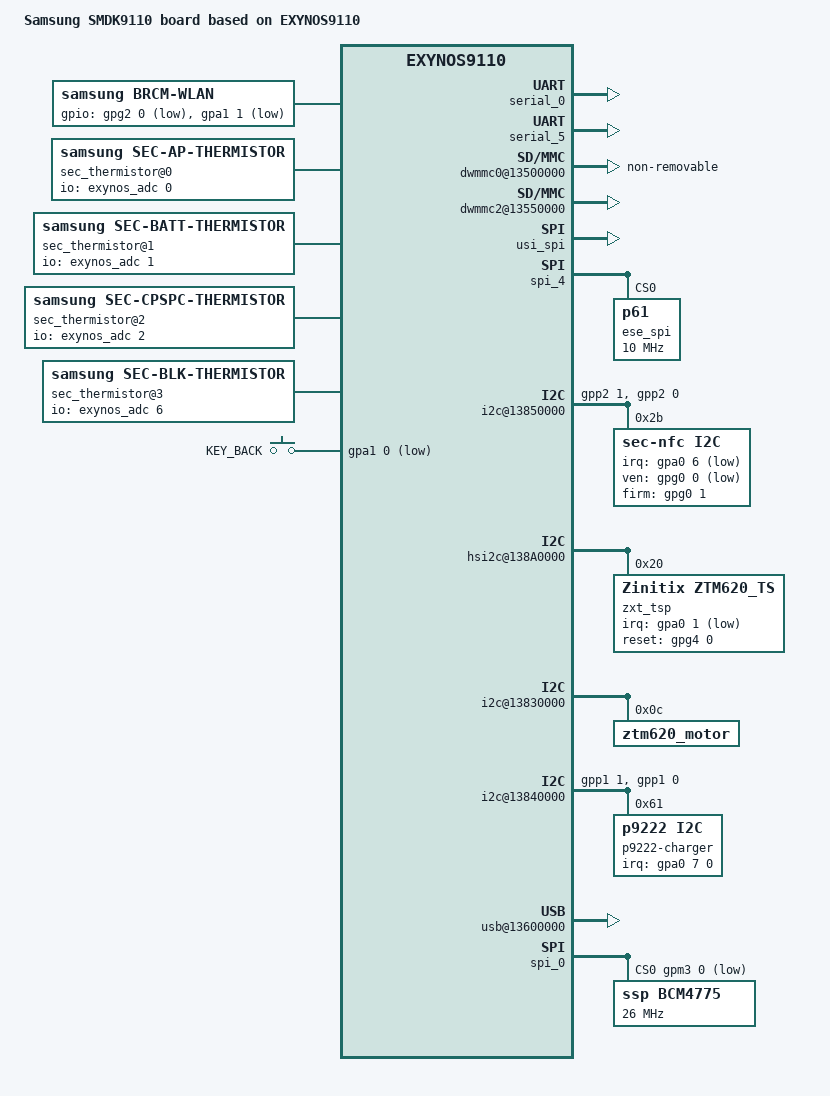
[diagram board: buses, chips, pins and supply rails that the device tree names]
/*
 * SAMSUNG EXYNOS9110 board device tree source
 *
 * Copyright (c) 2017 Samsung Electronics Co., Ltd.
 *		http://www.samsung.com
 *
 * This program is free software; you can redistribute it and/or modify
 * it under the terms of the GNU General Public License version 2 as
 * published by the Free Software Foundation.
 */

/dts-v1/;
#include "exynos9110.dtsi"
#include "exynos9110-pinctrl-tizen_galileo_small_lte-r07.dtsi"
#include "exynos9110-display-lcd.dtsi"
#include "exynos9110-rmem-lte.dtsi"
#include "modem-ss360ap-sipc-pdata.dtsi"
#include <dt-bindings/input/input.h>
#include "exynos9110-tizen_galileo-bluetooth.dtsi"
#include "exynos9110-tizen_galileo_abox_vss.dtsi"
#include "exynos9110-tizen_galileo_small_battery-r00.dtsi"
#include "exynos9110-emon-tizen_galileo_small.dtsi"

/ {
	model = "Samsung SMDK9110 board based on EXYNOS9110";
	compatible = "samsung,exynos9110", "samsung,SMDK9110";

	memory@80000000 {
		device_type = "memory";
		reg = <0x0 0x80000000 0x30000000>;
	};

	ect {
		parameter_address = <0x90000000>;
		parameter_size = <0x32000>;
	};

	chosen {
		bootargs = "console=ttySAC0,115200n8 root=/dev/ram0 androidboot.hardware=samsungexynos9110 androidboot.selinux=permissive androidboot.debug_level=0x4948 firmware_class.path=/vendor/firmware bcm_setup=0xffffff80f8e00000";
		linux,initrd-start = <0x84000000>;
		linux,initrd-end = <0x841FFFFF>;
	};

	fixed-rate-clocks {
		oscclk {
			compatible = "samsung,exynos9110-oscclk";
			clock-frequency = <26000000>;
		};
	};

	firmware {
		android {
			compatible = "android,firmware";
			fstab {
				compatible = "android,fstab";
				system {
					compatible = "android,system";
					dev = "/dev/block/platform/13500000.dwmmc0/by-name/system";
					type = "ext4";
					mnt_flags = "ro";
					fsmgr_flags = "wait";
				};
				vendor {
					compatible = "android,vendor";
					dev = "/dev/block/platform/13500000.dwmmc0/by-name/vendor";
					type = "ext4";
					mnt_flags = "ro";
					fsmgr_flags = "wait";
				};
			};
		};
	};

	serial_0: uart@13820000 {
		pinctrl-names = "default", "sleep";
		pinctrl-0 = <&uart0_bus_single_rx>; /* or _bus_dual */
		pinctrl-1 = <&uart0_bus_single_tx>; /* or _bus_dual */
		status = "okay";
	};

	serial_5: uart@13900000 {
		status = "okay";
	};

	/* USI_UART DBG*/
	speedy: speedy@11A20000 {
		pinctrl-names = "default", "sleep";
		pinctrl-0 = <&speedy_bus>;
		pinctrl-1 = <&speedy_bus>;
		status = "okay";
	};

	/* UART SWITCH FOR CP */
	uart_sel {
		compatible = "samsung,exynos-uart-sel";

		int_ap2cp_uart_noti = <15>;
		mbx_ap2cp_united_status = <2>;
		sbi_uart_noti_mask = <0x1>;
		sbi_uart_noti_pos = <16>;
		use_usb_phy = <1>;
	};

	pinctrl@11850000 {
	/* BCM43013 does not use cd_ext_irq feature */
	/*
		dwmmc2_cd_ext_irq: dwmmc2_cd_ext_irq {
			samsung,pins = "gpa0-3";
			samsung,pin-function = <0xf>;
		};
	*/

		pmic_irq: pmic-irq {
			samsung,pins = "gpa0-0";
			samsung,pin-pud = <3>;
			samsung,pin-drv = <3>;
		};
	};

	dwmmc0@13500000 {
		status = "okay";
		num-slots = <1>;
		broken-cd;
		fixed_voltage;
		supports-highspeed;
		mmc-ddr-1_8v;
		mmc-hs200-1_8v;
		mmc-hs400-1_8v;
		mmc-hs400-enhanced-strobe;
		supports-8bit;
		supports-cmd23;
		supports-erase;
		card-init-hwacg-ctrl;
		enable-ulp-mode;
		emmc-pwr-suspend = <1>;
		emmc-dis-charge-time = <30>;
		fifo-depth = <0x40>;
		non-removable;
		desc-size = <4>;
		card-detect-delay = <200>;
		data-timeout = <200>;
		hto-timeout = <80>;
		samsung,dw-mshc-ciu-div = <3>;
		samsung,dw-mshc-txdt-crc-timer-fastlimit = <0x13>;
		samsung,dw-mshc-txdt-crc-timer-initval = <0x15>;
		samsung,dw-mshc-ulp-txdt-crc-timer-fastlimit = <0x34>;
		samsung,dw-mshc-ulp-txdt-crc-timer-initval = <0x38>;
		samsung,dw-mshc-hs400-delay-line = <0x60>;
		samsung,dw-mshc-sdr-timing = <3 0 4 0>;
		samsung,dw-mshc-ddr-timing = <3 0 4 2>;
		samsung,dw-mshc-hs200-timing = <3 0 3 0>;
		samsung,dw-mshc-hs400-timing = <1 0 4 0>;
		samsung,dw-mshc-hs400-ulp-timing = <3 0 4 0>;

		num-ref-clks = <12>;
		ciu_clkin = <25 50 50 25 50 100 200 50 50 200 200 200>;

		clk-drive-number = <4>;
		pinctrl-names = "default",
			"fast-slew-rate-1x",
			"fast-slew-rate-2x",
			"fast-slew-rate-3x",
			"fast-slew-rate-4x",
			"pdn-default";
		pinctrl-0 = <&sd0_clk &sd0_cmd &sd0_rdqs &sd0_hwrst &sd0_bus1 &sd0_bus4 &sd0_bus8>;
		pinctrl-1 = <&sd0_clk_fast_slew_rate_1x>;
		pinctrl-2 = <&sd0_clk_fast_slew_rate_2x>;
		pinctrl-3 = <&sd0_clk_fast_slew_rate_3x>;
		pinctrl-4 = <&sd0_clk_fast_slew_rate_4x>;
		pinctrl-5 = <&sd0_pdn_clk &sd0_pdn_cmd &sd0_pdn_rdqs
			     &sd0_pdn_hwrst &sd0_pdn_bus1 &sd0_pdn_bus4 &sd0_pdn_bus8>;
		slot@0 {
			reg = <0>;
			bus-width = <8>;
		};

	};


	/* Broadcom SDIO interface*/
	dwmmc2@13550000 {
		status = "okay";
		num-slots = <1>;
		broken-cd;
		cd-type-external;
		cap-sd-highspeed;
		cap-mmc-highspeed;
		supports-4bit;
		//supports-cmd23;
		//supports-erase;
		sd-uhs-sdr25;
		//sd-uhs-sdr50;
		//sd-uhs-sdr104;
		//card-detect-gpio;
		//enable-sdio-wakeup;
		//bypass-smu;
		bypass-for-allpass;
		use-fine-tuning;
		card-init-hwacg-ctrl;
		only_once_tune;
		//skip-init-mmc-scan;
		ignore-phase = <(1 << 7)>;
		fifo-depth = <0x40>;
		desc-size = <4>;
		card-detect-delay = <200>;
		data-timeout = <200>;
		hto-timeout = <80>;
		samsung,dw-mshc-ciu-div = <3>;
		clock-frequency = <50000000>;
		samsung,dw-mshc-sdr-timing = <3 0 2 0>;
		samsung,dw-mshc-ddr-timing = <3 0 2 1>;
		//samsung,dw-mshc-sdr50-timing = <3 0 4 2>;
		//samsung,dw-mshc-sdr104-timing = <3 0 3 0>;

		tp_mon_depth = <2>;
		/* Byte/s,  MIF clk, CPU clk, KFC clk*/
		tp_mon_table = <1539000 1144000 1144000
		                     0       0       0>;

		num-ref-clks = <9>;
		ciu_clkin = <25 50 50 25 50 100 200 50 50>;

		clk-drive-number = <4>;
		pinctrl-names = "default",
			"fast-slew-rate-1x",
			"fast-slew-rate-2x",
			"fast-slew-rate-3x",
			"fast-slew-rate-4x",
			"sdio_wifi_on",
			"sdio_wifi_off";
		pinctrl-0 = <&sd2_clk &sd2_cmd &sd2_bus1 &sd2_bus4 &cfg_wlanen &cfg_wlanhostwake>;
		pinctrl-1 = <&sd2_clk_fast_slew_rate_1x>;
		pinctrl-2 = <&sd2_clk_fast_slew_rate_2x>;
		pinctrl-3 = <&sd2_clk_fast_slew_rate_3x>;
		pinctrl-4 = <&sd2_clk_fast_slew_rate_4x>;
		pinctrl-5 = <&sd2_clk_wifi_on &sd2_cmd_bus_wifi_on>;
		pinctrl-6 = <&sd2_clk_wifi_off &sd2_cmd_bus_wifi_off>;

		//card-detect = <&gpa0 3 0xf>;

		slot@0 {
			reg = <0>;
			bus-width = <4>;
			disable-wp;
		};
	};

	wlan {
		compatible = "samsung,brcm-wlan";
		gpios = <&gpg2 0 0x1 /* WLAN_EN */
			 &gpa1 1 0x1 /* WLAN HOST WAKE GPIO_0 */>;
		//pinctrl-names = "default";
		//pinctrl-0 = <&cfg_wlanen &cfg_wlanhostwake>;
		status = "okay";
	};

	pinctrl@11850000 {
		err_fg: err-fg {
			samsung,pins = "gpa0-5";
			samsung,pin-function = <0xf>; /* WEINT_GPA0[5] */
			samsung,pin-pud = <0>; /* Pull-up/down disabled */
			samsung,pin-drv = <0>; /* 1x */
			samsung,pin-con-pdn = <2>; /* Input */
			samsung,pin-pud-pdn = <0>; /* Pull-up/down disabled */
		};
	};

	pinctrl@139B0000 {
		disp_rst_prev: disp-rst-prev {
			samsung,pins = "gpg3-1";
			samsung,pin-function = <0x1>;  /* Output */
			samsung,pin-pud = <3>; /* Pull-up enabled */
			samsung,pin-drv = <0>; /* 1x */
			samsung,pin-con-pdn = <1>; /* Output 1 */
			samsung,pin-pud-pdn = <3>; /* Pull-up enabled */
		};
		disp_rst_in: disp-rst-in {
			samsung,pins = "gpg3-1";
			samsung,pin-function = <0x1>;  /* Output */
			samsung,pin-pud = <3>; /* Pull-up enabled */
			samsung,pin-drv = <0>; /* 1x */
			samsung,pin-con-pdn = <0>; /* Output 0 */
			samsung,pin-pud-pdn = <1>; /* Pull-down enabled */
		};
		oled_det: oled-det {
			samsung,pins = "gpg5-0";
			samsung,pin-function = <0x0>; /* Input */
			samsung,pin-pud = <1>; /* Enables pull-down */
			samsung,pin-drv = <0>; /* 1x */
			samsung,pin-con-pdn = <2>; /* Input */
			samsung,pin-pud-pdn = <1>; /* Enables pull-down */
		};
	};

	dsim_0: dsim@0x148E0000 {
		lcd_info = <&s6e36w3x01_s>;
		model_name = "AMB119EU09";
		gpios = <&gpg3 1 1 /* reset */
			&gpg4 1 0xf /* ub_irq */
			&gpa0 5 0xf /* err_fg */
			&gpg5 0 1 /* oled_det */>;
		pinctrl-names = "default", "aod_on", "aod_off";
		pinctrl-0 = <&ub_irq &err_fg &oled_det>;
		pinctrl-1 = <&disp_rst_prev>;
		pinctrl-2 = <&disp_rst_in>;
		regulator_1p8v = "vdd_ldo21";
		regulator_3p3v = "vdd_ldo20";
	};

	/* USI_00_CMGP */
	usi_00_cmgp: usi@11C22000 {
		usi_v2_mode = "spi";
		status = "okay";
	};

	/* USI_01_CMGP */
	usi_01_cmgp: usi@11C22010 {
		usi_v2_mode = "i2c";
		status = "disabled";
	};

	/* USI_02_CMGP */
	usi_02_cmgp: usi@11C22020 {
		usi_v2_mode = "spi";
		status = "disabled";
	};

    /* USI SPI mode setting */
    usi_spi: usi@10021030 {
        usi_v2_mode = "spi";
        status = "okay";
	};

    /* ESE SPI setting */
	spi_4: spi@13940000 {
		status = "okay";
		#address-cells = <1>;
		#size-cells = <0>;
		pinctrl-names = "default";
		pinctrl-0 = <&spi4_bus &spi4_cs>;

		ese_spi@0 {
			compatible = "p61";
			reg = <0>;
			spi-max-frequency = <10000000>;

			gpio-cotroller;
			#gpio-cells = <2>;

			clocks = <&clock GATE_USI_SPI>, <&clock PERI_SPI>;
			clock-names = "pclk", "sclk";

			p61-mosipin = <&gpp4 1 0>;
			p61-misopin = <&gpp4 2 0>;
			p61-cspin = <&gpp4 3 0>;
			p61-clkpin = <&gpp4 0 0>;

			controller-data {
				cs-gpio = <&gpp4 3 0>;
				samsung,spi-feedback-delay = <0>;
			};
		};
	};

	/* USI_00 */
	usi_00: usi@10021040 {
		usi_v2_mode = "uart";
		status = "okay";
	};

	exynos_rgt {
		compatible = "samsung,exynos-rgt";
	};

	mailbox_cp: mcu_ipc@11920000 {
		compatible = "samsung,exynos-shd-ipc-mailbox";
		reg = <0x0 0x11920000 0x180>;
		mcu,name = "mcu_ipc_cp";
		mcu,id = <0>;
		interrupts = <0 107 0 >;
	};

	pinctrl@139B0000 {
		/* Warm reset information from AP */
		pm_wrsti: pm-wrsti {
			samsung,pins = "gpg7-1";
			samsung,pin-con-pdn = <3>;
			samsung,pin-pud-pdn = <0>;
		};
	};

	speedy@11A20000{
		status = "okay";
		audio_codec_cod9005x: cod9005x@03 {
			compatible = "codec,cod9005x";
			reg = <0x03>;
			i2c-speedy-address;
			vdd-supply = <&ldo27_reg>;
			pinctrl-names = "default";
			mic-bias-ldo-voltage = <3>;
			avc-slope-param1 = <0x01>;
			avc-slope-param2 = <0x03>;
		};
		s2mpw02mfd@00 {
			compatible = "samsung,s2mpw02mfd";
			acpm-ipc-channel = <2>;
			i2c-speedy-address;
			s2mpw02,wakeup = "enabled";
			s2mpw02,irq-gpio = <&gpa0 0 0>;
			reg = <0x00>;
			interrupts = <0 0 0>;
			interrupt-parent = <&gpa0>;
			pinctrl-names = "default";
			pinctrl-0 = <&pmic_irq &pm_wrsti &lb_irqb>;
			/* RTC: wtsr/smpl */
			wtsr_en = "enabled"; /* enable */
			smpl_en = "disabled"; /* disable */
			wtsr_timer_val = <3>;	/* 1000ms */
			smpl_timer_val = <4>;	/* 500ms */
			check_jigon = <0>; /* do not check jigon */
			/* RTC: If it's first boot, reset rtc to 1/1/2018 12:00:00(Wed) */
			init_time,sec = <0>;
			init_time,min = <0>;
			init_time,hour = <12>;
			init_time,mday = <1>;
			init_time,mon = <0>;
			init_time,year = <118>;
			init_time,wday = <1>;

			s2mpw02-keys {
				button@1 {
					label = "KEY_POWER";
					linux,code = <KEY_POWER>;
					wakeup = <1>;
				};
			};

			regulators {
				buck1_reg: BUCK1 {
					regulator-name = "vdd_soc";
					regulator-min-microvolt = <500000>;
					regulator-max-microvolt = <1200000>;
					regulator-always-on;
					regulator-boot-on;
					regulator-ramp-delay = <12000>;
					regulator-initial-mode = <1>;
				};
				buck2_reg: BUCK2 {
					regulator-name = "vdd_lldo";
					regulator-min-microvolt = <800000>;
					regulator-max-microvolt = <1500000>;
					regulator-always-on;
					regulator-boot-on;
					regulator-ramp-delay = <12000>;
					regulator-initial-mode = <3>;
				};

				buck3_reg: BUCK3 {
					regulator-name = "vdd_mldo";
					regulator-min-microvolt = <1800000>;
					regulator-max-microvolt = <2100000>;
					regulator-always-on;
					regulator-boot-on;
					regulator-ramp-delay = <12000>;
					regulator-initial-mode = <3>;
				};

				bst1_reg: BST1 {
					regulator-name = "vdd_hrm";
					regulator-min-microvolt = <4900000>;
					regulator-max-microvolt = <5100000>;
				};

				bst2_reg: BST2 {
					regulator-name = "vdd_codec";
					regulator-min-microvolt = <4900000>;
					regulator-max-microvolt = <5100000>;
				};

				ldo1_reg: LDO1 {
					regulator-name = "vdd_ldo1";
					regulator-min-microvolt = <700000>;
					regulator-max-microvolt = <1300000>;
					regulator-always-on;
					regulator-boot-on;
					regulator-ramp-delay = <12000>;
					regulator-initial-mode = <2>;
				};

				ldo2_reg: LDO2 {
					regulator-name = "vdd_ldo2";
					regulator-min-microvolt = <700000>;
					regulator-max-microvolt = <1950000>;
					regulator-always-on;
					regulator-boot-on;
					regulator-ramp-delay = <12000>;
					regulator-initial-mode = <3>;
				};

				ldo3_reg: LDO3 {
					regulator-name = "vdd_ldo3";
					regulator-min-microvolt = <700000>;
					regulator-max-microvolt = <1300000>;
					regulator-always-on;
					regulator-boot-on;
					regulator-ramp-delay = <12000>;
					regulator-initial-mode = <1>;
				};

				ldo4_reg: LDO4 {
					regulator-name = "vdd_ldo4";
					regulator-min-microvolt = <700000>;
					regulator-max-microvolt = <1950000>;
					regulator-always-on;
					regulator-boot-on;
					regulator-ramp-delay = <12000>;
					regulator-initial-mode = <1>;
				};

				ldo5_reg: LDO5 {
					regulator-name = "vdd_ldo5";
					regulator-min-microvolt = <700000>;
					regulator-max-microvolt = <1300000>;
					regulator-always-on;
					regulator-boot-on;
					regulator-ramp-delay = <12000>;
					regulator-initial-mode = <3>;
				};

				ldo6_reg: LDO6 {
					regulator-name = "vdd_ldo6";
					regulator-min-microvolt = <500000>;
					regulator-max-microvolt = <1300000>;
					regulator-always-on;
					regulator-boot-on;
					regulator-ramp-delay = <12000>;
					regulator-initial-mode = <1>;
				};

				ldo7_reg: LDO7 {
					regulator-name = "vdd_ldo7";
					regulator-min-microvolt = <700000>;
					regulator-max-microvolt = <1300000>;
					regulator-always-on;
					regulator-boot-on;
					regulator-ramp-delay = <12000>;
					regulator-initial-mode = <1>;
				};

				ldo8_reg: LDO8 {
					regulator-name = "vdd_ldo8";
					regulator-min-microvolt = <500000>;
					regulator-max-microvolt = <1300000>;
					regulator-always-on;
					regulator-boot-on;
					regulator-ramp-delay = <12000>;
					regulator-initial-mode = <1>;
				};

				ldo9_reg: LDO9 {
					regulator-name = "vdd_ldo9";
					regulator-min-microvolt = <700000>;
					regulator-max-microvolt = <1300000>;
					regulator-always-on;
					regulator-boot-on;
					regulator-ramp-delay = <12000>;
					regulator-initial-mode = <1>;
				};

				ldo10_reg: LDO10 {
					regulator-name = "vdd_ldo10";
					regulator-min-microvolt = <1800000>;
					regulator-max-microvolt = <3375000>;
					regulator-always-on;
					regulator-boot-on;
					regulator-ramp-delay = <12000>;
					regulator-initial-mode = <1>;
				};

				ldo14_reg: LDO14 {
					regulator-name = "vdd_ldo14";
					regulator-always-on;
					regulator-initial-mode = <2>;
				};

				ldo18_reg: LDO18 {
					regulator-name = "vemmc";
					regulator-min-microvolt = <800000>;
					regulator-max-microvolt = <1950000>;
					regulator-ramp-delay = <12000>;
				};

				ldo19_reg: LDO19 {
					regulator-name = "vqemmc";
					regulator-min-microvolt = <1800000>;
					regulator-max-microvolt = <3375000>;
					regulator-ramp-delay = <12000>;
				};

				// if initial-mode 0 LDO20, LDO21 controlled by LCD_EN
				ldo20_reg: LDO20 {
					regulator-name = "vdd_ldo20";
					regulator-min-microvolt = <1800000>;
					regulator-max-microvolt = <3375000>;
					regulator-ramp-delay = <12000>;
					regulator-initial-mode = <3>;
				};

				ldo21_reg: LDO21 {
					regulator-name = "vdd_ldo21";
					regulator-min-microvolt = <1800000>;
					regulator-max-microvolt = <1800000>;
					regulator-ramp-delay = <12000>;
					regulator-initial-mode = <3>;
				};

				ldo22_reg: LDO22 {
					regulator-name = "vdd_ldo22";
					regulator-min-microvolt = <3000000>;
					regulator-max-microvolt = <3000000>;
					regulator-always-on;
					regulator-boot-on;
					regulator-ramp-delay = <12000>;
					regulator-initial-mode = <2>;
				};

				ldo23_reg: LDO23 {
					regulator-name = "vdd_ldo23";
					regulator-min-microvolt = <3300000>;
					regulator-max-microvolt = <3300000>;
					regulator-always-on;
					regulator-ramp-delay = <12000>;
					regulator-initial-mode = <2>;
				};

				ldo24_reg: LDO24 {
					regulator-name = "vdd_ldo24";
					regulator-min-microvolt = <1800000>;
					regulator-max-microvolt = <1800000>;
					regulator-initial-mode = <2>;
					regulator-ramp-delay = <12000>;
				};

				ldo25_reg: LDO25 {
					regulator-name = "vdd_ldo25";
					regulator-min-microvolt = <1800000>;
					regulator-max-microvolt = <3375000>;
					regulator-ramp-delay = <12000>;
					regulator-initial-mode = <2>;
				};

				ldo26_reg: LDO26 {
					regulator-name = "vdd_ldo26";
					regulator-always-on;
					regulator-initial-mode = <2>;
				};

				ldo27_reg: LDO27 {
					regulator-name = "vdd_ldo27";
					regulator-min-microvolt = <700000>;
					regulator-max-microvolt = <1950000>;
					regulator-ramp-delay = <12000>;
				};

				ldo28_reg: LDO28 {
					regulator-name = "vdd_ldo28";
					regulator-always-on;
					regulator-initial-mode = <2>;
				};

				ldo29_reg: LDO29 {
					regulator-name = "vdd_ldo29";
					regulator-min-microvolt = <3300000>;
					regulator-max-microvolt = <3300000>;
					regulator-always-on;
					regulator-boot-on;
					regulator-initial-mode = <2>;
					regulator-ramp-delay = <12000>;
				};

				ldo30_reg: LDO30 {
					regulator-name = "vdd_ldo30";
					regulator-min-microvolt = <700000>;
					regulator-max-microvolt = <1300000>;
					regulator-ramp-delay = <12000>;
					regulator-initial-mode = <0>;
				};
			};
		};
	};

	pinctrl@11850000 {
		detent_usr: detent_usr {
			samsung,pins = "gpa0-2", "gpa0-3", "gpa0-4";
			samsung,pin-function = <0xf>;
			samsung,pin-pud = <0>; /* Pull-up/down disabled */
			samsung,pin-drv = <0>;
			samsung,pin-con-pdn = <3>;
			samsung,pin-pud-pdn = <0>; /* Pull-up/down disabled */
		};
		detent_eng: detent_eng {
			samsung,pins = "gpa0-2", "gpa0-3", "gpa0-4";
			samsung,pin-function = <0xf>;
			samsung,pin-pud = <1>; /* Pull-down enabled */
			samsung,pin-drv = <0>;
			samsung,pin-con-pdn = <3>;
			samsung,pin-pud-pdn = <1>; /* Pull-down enabled */
		};
	};

	detent {
		compatible = "tizen_detent";
		hall_sensor,gpio_a = <&gpa0 2 0xf>;
		hall_sensor,gpio_b = <&gpa0 3 0xf>;
		hall_sensor,gpio_c = <&gpa0 4 0xf>;
		pinctrl-names = "usr", "eng";
		pinctrl-0 = <&detent_usr>;
		pinctrl-1 = <&detent_eng>;
		regulator_name = "vdd_ldo24";
	};

	i2c@13850000 {
		status = "okay";
		#address-cells = <1>;
		#size-cells = <0>;
		gpios = <&gpp2 1 0 /* sda */
				&gpp2 0 0 >; /* scl */
		i2c-gpio,delay-us = <10>;
		i2c-gpio,timeout-ms = <0>;

		sec-nfc@2B{
			compatible = "sec-nfc,i2c";
			reg = <0x2B>;
			pinctrl-names = "default";
			pinctrl-0 = <&nfc_irq &gpio_nfc_en &gpio_nfc_firm &nfc_gpio_esepwr>;
			sec-nfc,irq-gpio = <&gpa0 6 0xf>;
			sec-nfc,ven-gpio = <&gpg0 0 0x1>;
			sec-nfc,firm-gpio = <&gpg0 1 0x00>;
			sec-nfc,gpio-sda = <&gpp2 1 0x00>;
			sec-nfc,gpio-scl = <&gpp2 0 0x00>;
			sec-nfc,ese-pwr = <&gpg1 0 0x00>;
		};
	};

	pinctrl@11850000 {
		tsp_int: tsp-int {
			samsung,pins = "gpa0-1";
			samsung,pin-function = <0xf>; /* WEINT_GPA0[0] */
			samsung,pin-pud = <0>; /* Pull-up/down disabled */
			samsung,pin-drv = <0>; /* 1x */
			samsung,pin-con-pdn = <3>; /* Previous State */
			samsung,pin-pud-pdn = <0>; /* Pull-up/down disabled */
		};
	};

	pinctrl@139B0000 {
		tsp_reset: tsp-reset {
			samsung,pins = "gpg4-0";
			samsung,pin-function = <0x0>; /* Input */
			samsung,pin-pud = <0>; /* Pull-up/down disabled */
			samsung,pin-drv = <0>; /* 1x */
			samsung,pin-con-pdn = <2>; /* Input */
			samsung,pin-pud-pdn = <0>; /* Pull-up/down disabled */
		};

		tsp_lpm: tsp-lpm {
			samsung,pins = "gpg6-1";
			samsung,pin-function = <0x0>; /* Input */
			samsung,pin-pud = <1>; /* Enables pull-down */
			samsung,pin-drv = <0>; /* 1x */
			samsung,pin-con-pdn = <2>; /* Input */
			samsung,pin-pud-pdn = <1>; /* Enables pull-down */
		};

		motor_en: motor_en {
			samsung,pins = "gpg1-1";
			samsung,pin-function = <1>;
			samsung,pin-pud = <1>;
		};
	};

	hsi2c@138A0000 {
		status = "okay";
		#address-cells = <1>;
		#size-cells = <0>;

		zxt_tsp@20 {
			compatible = "Zinitix,ztm620_ts";
			reg = <0x20>; /*i2c slave address*/
			pinctrl-names = "wakeup", "off";
			pinctrl-0 = <&tsp_reset &tsp_int &tsp_lpm>;
			pinctrl-1 = <&tsp_reset &tsp_int &tsp_lpm>;
			zinitix,irq-gpio = <&gpa0 1 0xf>;
			zinitix,reset-gpio = <&gpg4 0 0>;
			zinitix,x_resolution = <360>;
			zinitix,y_resolution = <360>;
			ztw522,fw_name = "ztm620.small.fw";
		};
	};

	/* I2C_MOTOR */
	i2c@13830000 {
		status = "okay";
		#address-cells = <1>;
		#size-cells = <0>;

		ztm620_motor@0C{
			compatible = "ztm620_motor";
			reg = <0x0C>;
			pinctrl-names = "default";
			pinctrl-0 = <&motor_en>;
			ztm620_motor,motor-type = "LRA"; /* LRA or ERM */
			ztm620_motor,loop-type = "open"; /* closed or open */
			ztm620_motor,break-on;
			ztm620_motor,brake-delay-ms = <0>;
			ztm620_motor,regs-init = <	0x02 0x00 0x1c 0x33
							0x26 0x7f 0x27 0x78
							0x28 0x74 0x29 0x70
							0x2a 0x60 0x2b 0x58
							0x2c 0x50 0x2d 0x50
							0x2e 0x50 0x2f 0x50
							0x30 0x7f 0x31 0x78
							0x32 0x74 0x33 0x70
							0x34 0x60 0x35 0x58
							0x36 0x50 0x37 0x50
							0x38 0x50 0x39 0x50>;
			/* ztm620_motor,motor_en = <&gpg1 1 0>; */
			ztm620_motor,adc-sampling-time = <0x86>;
			ztm620_motor,soft-en-delay-ms = <0>;
			ztm620_motor,freq-strong = <205>;
			ztm620_motor,freq-weak = <197>;
			ztm620_motor,strength-strong = <0x56>;
			ztm620_motor,strength-weak = <0x56>;
		};
	};

    i2c@13840000 {
		status = "okay";
		#address-cells = <1>;
		#size-cells = <0>;
		gpios = <&gpp1 1 0 /* sda */
				&gpp1 0 0 >; /* scl */
		i2c-gpio,delay-us = <10>;
		i2c-gpio,timeout-ms = <0>;

		p9222-charger@61{
			compatible = "p9222,i2c";
			reg = <0x61>;
			pinctrl-names = "default";
			pinctrl-0 = <&wpc_irq &wpc_en &wpc_det>;
			interrupts = <7 0 0>;
			interrupt-parent = <&gpa0>;
			p9222,wpc_int = <&gpa0 7 0x00>;
			p9222,wpc_det = <&gpa1 5 0x00>;
			p9222,wpc_en = <&gpm16 0 0x00>;
			p9222,gpio-sda = <&gpp1 1 0x00>;
			p9222,gpio-scl = <&gpp1 0 0x00>;

			p9222,battery_name = "battery";
			p9222,charger_name = "sec-charger";
			p9222,fuelgauge_name = "sec-fuelgauge";
			p9222,wireless_name = "wireless";
			p9222,wireless_charger_name = "wpc";

			p9222,tx-off-high-temp = <480>;

			p9222,vbat-monitoring;
								/* (vrec, vout)  */
			p9222,sec_mode_data = <	0	0		/* SEC_INITIAL_MODE 		*/
									32	4900	/* SEC_SWELLING_MODE 		*/
									15	4600	/* SEC_LOW_BATT_MODE		*/
									15	4900	/* SEC_MID_BATT_MODE		*/
									70	4900	/* SEC_HIGH_BATT_MODE		*/
									94	4900	/* SEC_VERY_HIGH_BATT_MODE	*/
									94	4900	/* SEC_FULL_NONE_MODE		*/
									110	4900	/* SEC_FULL_NORMAL_MODE		*/
									62	4600	/* SEC_SWELLING_LDU_MODE	*/
									62	4600	/* SEC_LOW_BATT_LDU_MODE	*/
									0	0		/* SEC_FULL_NONE_LDU_MODE 	*/
									62	4600	/* SEC_FULL_NORMAL_LDU_MODE */
									236	4800	/* SEC_INCOMPATIBLE_TX_MODE 		*/
									0	0		/* SEC_VBAT_MONITORING_DISABLE_MODE 	*/
									20	5100	/* SEC_INCOMPATIBLE_TX_HIGH_BATT_MODE 	*/
									59	5100	/* SEC_INCOMPATIBLE_TX_FULL_MODE 	*/
									>;
			p9222,ping_duration = <200>;
			p9222,cc_cv_threshold = <86>;
			p9222,charger_type = <
								/* (tx id, power hold mode) */
										0x54 0x1
										0x70 0x0
										0x71 0x0
										0x72 0x0
										0x73 0x0>;
		};
	};

	usb@13600000 {
		status = "okay";
		dwc3 {
			dr_mode = "otg";
			maximum-speed = "high-speed";
		};
	};

	phy@135D0000 {
		status = "okay";

		hs_tune_param = <&usb_hs_tune>;
	};

	usb_hs_tune:hs_tune {
		hs_tune_cnt = <12>;

		/* value = <device host> */
		hs_tune1 {
			tune_name = "tx_vref";
			tune_value = <0x9 0x9>;
		};

		hs_tune2 {
			tune_name = "tx_pre_emp";
			tune_value = <0x3 0x3>;
		};

		hs_tune3 {
			tune_name = "tx_pre_emp_plus";
			tune_value = <0x0 0x0>;
		};

		hs_tune4 {
			tune_name = "tx_res";
			tune_value = <0x3 0x3>;
		};

		hs_tune5 {
			tune_name = "tx_rise";
			tune_value = <0x3 0x3>;
		};

		hs_tune6 {
			tune_name = "tx_hsxv";
			tune_value = <0x3 0x3>;
		};

		hs_tune7 {
			tune_name = "tx_fsls";
			tune_value = <0x3 0x3>;
		};

		hs_tune8 {
			tune_name = "rx_sqrx";
			tune_value = <0x3 0x3>;
		};

		hs_tune9 {
			tune_name = "compdis";
			tune_value = <0x7 0x7>;
		};

		hs_tune10 {
			tune_name = "otg";
			tune_value = <0x2 0x2>;
		};

		hs_tune11 {
		/* true : 1, false: 0 */
		/* <enable_user_imp user_imp_value> */
			tune_name = "enable_user_imp";
			tune_value = <0x0 0x0>;
		};

		hs_tune12 {
		/* PHY clk : 1 , FREE clk : 0 */
			tune_name = "is_phyclock";
			tune_value = <0x1 0x1>;
		};
	};

	slp_multi: slp_multi_gadget {
		compatible = "slp,slp_multi";
		slp,slp_multi-swfi-latency = <1>;
		slp,slp_multi-enable-funcs = "sdb", "mtp", "acm", "dm", "rndis";
		slp,slp_multi-mtp-mini-mode;
	};
	usb_notifier {
		compatible = "samsung,usb-notifier";
		udc = <&udc>;
	};

	sec_thermistor@0 {
		compatible = "samsung,sec-ap-thermistor";
		status = "okay";

		adc_array = <96 149 202 255 361 500 688 945 1316 1725 2169 2544 3030 3358 3584>;
		temp_array = <1200 1100 1000 900 800 700 600 500 400 300 200 100 0 (-100) (-200)>;

		history_index = <0>;

		io-channels = <&exynos_adc 0>;
		io-channel-names = "adc-ap-temp";
		io-channel-ranges;
	};

	sec_thermistor@1 {
		compatible = "samsung,sec-batt-thermistor";
		status = "okay";

		adc_array = <30 50 80 120 179 266 372 426 519 610 630 690 710 750 850 1005 1219 1399 1622 1851 2088 2335 2586 2810 3072 3255>;
		temp_array = <1200 1100 1000 900 800 700 600 550 500 450 440 410 400 380 350 300 250 200 150 100 50 0 (-50) (-100) (-150) (-200)>;

		history_index = <1>;

		io-channels = <&exynos_adc 1>;
		io-channel-names = "adc-batt-temp";
		io-channel-ranges;
	};

	sec_thermistor@2 {
		compatible = "samsung,sec-cpspc-thermistor";
		status = "okay";

		/* CP specific does not use ADC/TEMP table */
		/* Just added dummy table for driver */
		adc_array = <1000 1200 1500 1750 2000 2250 2500 2750 3000 3250 3500 3750 4000>;
		temp_array = <(-200) (-100) 0 100 200 300 400 500 600 700 800 900 1000>;

		history_index = <2>;

		io-channels = <&exynos_adc 2>;
		io-channel-names = "adc-cp-temp";
		io-channel-ranges;
	};

	sec_thermistor@3 {
		compatible = "samsung,sec-blk-thermistor";
		status = "okay";

		adc_array = <86 143 200 257 371 503 705 981 1295 1692 2063 2576 3014 3356 3574>;
		temp_array = <1200 1100 1000 900 800 700 600 500 400 300 200 100 0 (-100) (-200)>;

		history_index = <3>;

		io-channels = <&exynos_adc 6>;
		io-channel-names = "adc-blk-temp";
		io-channel-ranges;
	};

	jig_notifier {
		compatible = "samsung,jig-notifier";
		udc = <&udc>;
	};

	pinctrl@11850000 {
		key_back_1: key-back_1 {
			samsung,pins = "gpa1-0";
			samsung,pin-function = <0xf>; /* WEINT_GPA1[0] */
			samsung,pin-pud = <0>; /* Pull-up/down disabled */
			samsung,pin-drv = <0>; /* 1x */
			samsung,pin-con-pdn = <3>; /* Previous State */
			samsung,pin-pud-pdn = <0>; /* Pull-up/down disabled */
		};
	};

	pinctrl@11C30000 {
		key_back_2: key-back_2 {
			samsung,pins = "gpm17-0";
			samsung,pin-function = <0x0>; /* Input */
			samsung,pin-pud = <0x3>; /* Enables pullup */
			samsung,pin-drv = <0>; /* 1x */
			samsung,pin-con-pdn = <0x2>; /*  Input */
			samsung,pin-pud-pdn = <0x3>; /* Enables pullup */
		};
	};

	gpio_keys {
		status = "okay";
		compatible = "gpio-keys";
		pinctrl-names = "default";
		pinctrl-0 = <&key_back_1 &key_back_2>;

		button@1 {
			label = "KEY_BACK";
			interrupts = <0 0 0>;
			interrupt-parent = <&gpa1>;
			linux,code = <KEY_BACK>;
			gpios = <&gpa1 0 0xf>;
			gpio-key,wakeup = <1>;
		};
	};

	input_assistant {
		compatible = "input-assistant";
		input_assistant,num_map = <2>;
		input_assistant,map_key = <2>;
		input_assistant,map_codes = "gpio_keys_code", "bezel_input_code";
		input_assistant,map_types ="gpio_keys_type", "bezel_input_type";
		gpio_keys_code  = <KEY_BACK KEY_POWER 0x2f>;
		gpio_keys_type  = <0x01 0x01 0x03>;
		bezel_input_code  = <0x08 0x00>;
		bezel_input_type  = <0x02 0x02>;
		input_assistant,dev_num = <3>;
		input_assistant,dev_name_str = "gpio_keys", "s2mpw02-power-keys", "tizen_detent";
	};

	samsung_input_bridge {
		compatible = "samsung_input_bridge";
		input_bridge,num_map = <4>;
		input_bridge,map_id = "logdump_id",
				"payment_id",
				"hall_log_id",
				"onekey_id";
		input_bridge,map_codes ="input_bridge,logdump_map_code",
					"input_bridge,payment_map_code",
					"input_bridge,hall_log_map_code",
					"onekey_code";
		input_bridge,map_types ="input_bridge,logdump_map_type",
					"input_bridge,payment_map_type",
					"input_bridge,hall_log_map_type",
					"onekey_type";
		logdump_id  = <0>;
		payment_id  = <1>;
		hall_log_id  = <2>;
		onekey_id  = <3>;
		input_bridge,logdump_map_code  = <115 114 115 114 116 114 115 116>;
		input_bridge,logdump_map_type  = <1 1 1 1 1 1 1 1>;
		input_bridge,payment_map_code  = <KEY_BACK>;
		input_bridge,payment_map_type  = <1>;
		input_bridge,hall_log_map_code = <116 8 8 8 8 8 8 8 8>;
		input_bridge,hall_log_map_type = <1 2 2 2 2 2 2 2 2>;
		input_bridge,env_str = "APPS_LOG",  "PAYMENT", "APPS_LOG", "ONEKEY";
		input_bridge,env_value = "ON", "ON",  "ON", "ON";
		input_bridge,map_key = <1>;
		input_bridge,enable_uevent = <1>;
		input_bridge,uevent_action = <2>;
		input_bridge,dev_num = <3>;
		input_bridge,dev_name_str = "gpio_keys", "s2mpw02-power-keys", "tizen_detent";
		onekey_timeout  = <1200>;
		onekey_code  = <KEY_POWER>;
		onekey_type  = <1>;
		onekey_num = <1>;
		onekey_env_str =  "PANIC" ;
		onekey_env_value =  "ON";
		debug_low_enable = <0>;
		onekey_key_cnt = <7 >;
	};

	dummy_audio_codec: audio_codec_dummy {
		status = "okay";
		compatible = "snd-soc-dummy";
	};

	sound {
		status = "okay";
		compatible = "samsung,exynos9110-sound";

		samsung,routing = "VOUTPUT", "ABOX UAIF0 Playback",
			"ABOX UAIF1 Capture", "VINPUT1",
			"VTS PAD DPDM", "DMIC1",
			"VTS Virtual Output", "VTS Virtual Output Mux",
			"VTS Virtual Output Mux", "DMIC1",
			"VOUTPUTCALL", "ABOX SIFS0 Playback",
			"ABOX SIFS0 Capture", "VINPUTCALL";
		samsung,codec = <&abox &abox_uaif_0 &abox_uaif_1 &abox_uaif_4 &vts>;
		samsung,prefix = "ABOX", "ABOX", "ABOX", "ABOX", "VTS";
		samsung,aux = <&abox_effect>;

		rdma@0 {
			cpu {
				sound-dai = <&abox 0>;
			};
			codec {
				sound-dai = <&dummy_audio_codec>;
			};
		};
		rdma@1 {
			cpu {
				sound-dai = <&abox 1>;
			};
			codec {
				sound-dai = <&dummy_audio_codec>;
			};
		};
		rdma@2 {
			cpu {
				sound-dai = <&abox 2>;
			};
			codec {
				sound-dai = <&dummy_audio_codec>;
			};
		};
		rdma@3 {
			cpu {
				sound-dai = <&abox 3>;
			};
			codec {
				sound-dai = <&dummy_audio_codec>;
			};
		};
		rdma@4 {
			cpu {
				sound-dai = <&abox 4>;
			};
			codec {
				sound-dai = <&dummy_audio_codec>;
			};
		};
		rdma@5 {
			cpu {
				sound-dai = <&abox 5>;
			};
			codec {
				sound-dai = <&dummy_audio_codec>;
			};
		};
		rdma@6 {
			cpu {
				sound-dai = <&abox 6>;
			};
			codec {
				sound-dai = <&dummy_audio_codec>;
			};
		};
		rdma@7 {
			cpu {
				sound-dai = <&abox 7>;
			};
			codec {
				sound-dai = <&dummy_audio_codec>;
			};
		};
		wdma@0 {
			cpu {
				sound-dai = <&abox 8>;
			};
			codec {
				sound-dai = <&dummy_audio_codec>;
			};
		};
		wdma@1 {
			cpu {
				sound-dai = <&abox 9>;
			};
			codec {
				sound-dai = <&dummy_audio_codec>;
			};
		};
		wdma@2 {
			cpu {
				sound-dai = <&abox 10>;
			};
			codec {
				sound-dai = <&dummy_audio_codec>;
			};
		};
		wdma@3 {
			cpu {
				sound-dai = <&abox 11>;
			};
			codec {
				sound-dai = <&dummy_audio_codec>;
			};
		};
		wdma@4 {
			cpu {
				sound-dai = <&abox 12>;
			};
			codec {
				sound-dai = <&dummy_audio_codec>;
			};
		};
		uaif@0 {
			format = "i2s";
			cpu {
				sound-dai = <&abox_uaif_0>;
			};
			codec {
				sound-dai = <&audio_codec_cod9005x>;
			};
		};
		uaif@1 {
			format = "i2s";
			cpu {
				sound-dai = <&abox_uaif_1>;
			};
			codec {
				sound-dai = <&dummy_audio_codec>;
			};
		};
		uaif@4 {
			format = "i2s";
			bitclock-master;
			frame-master;
			cpu {
				sound-dai = <&abox_uaif_4>;
			};
			codec {
				sound-dai = <&dummy_audio_codec>;
			};
		};
		vts@0 {
			cpu {
				sound-dai = <&vts 0>;
			};
			codec {
				sound-dai = <&dummy_audio_codec>;
			};
		};
		vts@1 {
			cpu {
				sound-dai = <&vts 1>;
			};
			codec {
				sound-dai = <&dummy_audio_codec>;
			};
		};
	};

	spi_0: spi@11D00000 {
		status = "okay";
		cs-gpios = <&gpm3 0 1>;

		pinctrl-names = "default";
		pinctrl-0 = <&spi0_bus &spi0_cs_func &gps_hub_en &spi0_miso>;
		BCM4775@0 {
			reg = <0>;
			bits-per-word = <8>;
			spi-max-frequency = <26000000>;
			compatible = "ssp,BCM4775";
			pinctrl-names = "default";
			pinctrl-0 = <&ssp_mcu_resp &ssp_mcu_req &ssp_host_req>;
			ssp-host-req = <&gpa1 4 0x00>;
			ssp-mcu-req = <&gpm11 0 0x00>;
			ssp-mcu-resp = <&gpm10 0 0x00>;
			ssp-skip-sanity;
			ssp,acc-position = <0>;
			ssp,mag-position = <3>;
			ssp,ap-rev = <1>;
			ssp,model_name = "BCM47758";
			regulator_3p0v = "vdd_ldo25";
			controller-data {
				cs-gpio = <&gpm3 0 1>;
				samsung,spi-feedback-delay = <0>;
				samsung,spi-chip-select-mode = <0>;
			};
		};
	};

	gps {
		compatible = "broadcom,bcm4775";
		gps-node-name = "bcm47758";
		gps-pwr-en = <&gpm13 0 0x00>;
	};

    sec-gsim {
    };
	sec_pinctrl_dvs {
		compatible = "sec_pinctrl_dvs";
		pinctrl-names = "default", "sleep";
		pinctrl-0 = <&gpq03>;
		pinctrl-1 = <&gpq03>;
	};
};
